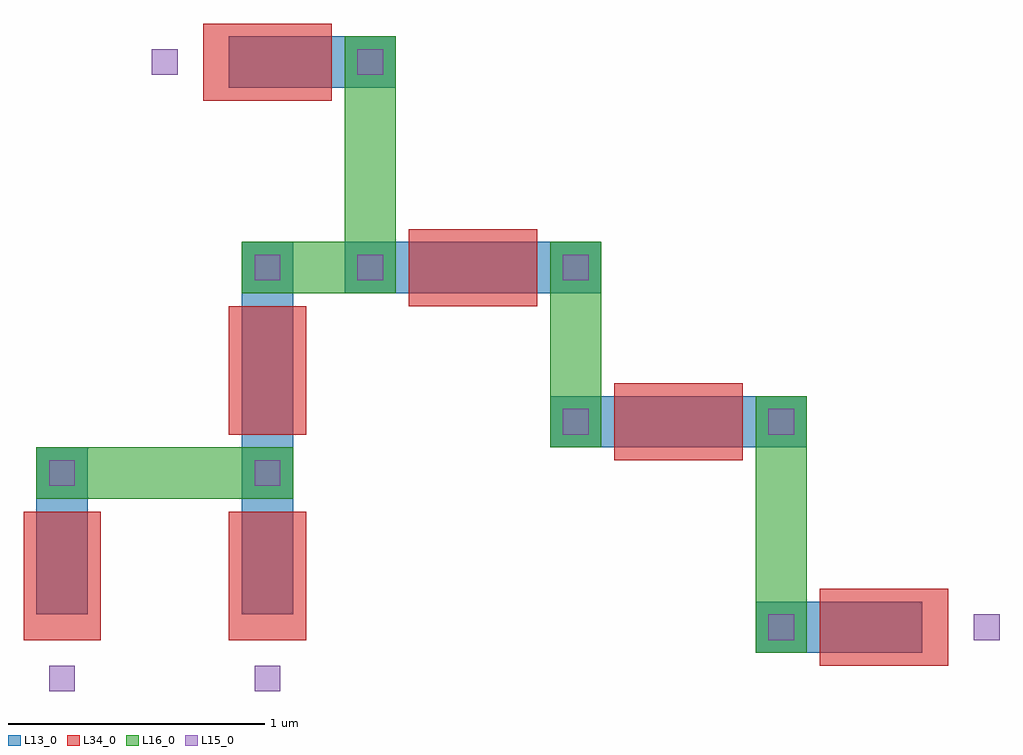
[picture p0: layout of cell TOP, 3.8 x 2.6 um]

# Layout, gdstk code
from math import pi, radians
import gdstk
lib = gdstk.Library(unit=1e-6, precision=1e-09)
def R(c, l, rs):  # rectangles x0, y0, x1, y1
    for r in rs: c.add(gdstk.rectangle(r[:2], r[2:], *l))
L13_0 = (13, 0)
L15_0 = (15, 0)
L16_0 = (16, 0)
L34_0 = (34, 0)

c_a = lib.new_cell('A')
R(c_a, L13_0, [(0.6,-0.4,1.25,-0.2), (-0.2,0.4,0.8,0.6)])
R(c_a, L15_0, [(0.65,-0.35,0.75,-0.25), (1.45,-0.35,1.55,-0.25), (-0.15,0.45,-0.05,0.55), (0.65,0.45,0.75,0.55)])
R(c_a, L16_0, [(0.6,-0.4,0.8,0.1), (0.6,-0.05,0.8,0.6), (-0.2,0.4,0,0.9)])
R(c_a, L34_0, [(0.85,-0.45,1.35,-0.15), (0.05,0.35,0.55,0.65)])

top = lib.new_cell('TOP')
R(top, L13_0, [(0,0.75,0.2,1.4), (0.8,0.75,1,1.4), (0.8,1.2,1,2.2)])
R(top, L15_0, [(0.05,0.45,0.15,0.55), (0.85,0.45,0.95,0.55), (0.05,1.25,0.15,1.35), (0.85,1.25,0.95,1.35), (0.85,1.25,0.95,1.35), (0.85,2.05,0.95,2.15)])
R(top, L16_0, [(0,1.2,0.5,1.4), (0.35,1.2,1,1.4), (0.8,2,1.3,2.2)])
R(top, L34_0, [(-0.05,0.65,0.25,1.15), (0.75,0.65,1.05,1.15), (0.75,1.45,1.05,1.95)])
top.add(gdstk.Reference(c_a, (2.2,1)))
top.add(gdstk.Reference(c_a, (2,2.6), rotation=pi))

lib.write_gds('TOP.gds')
